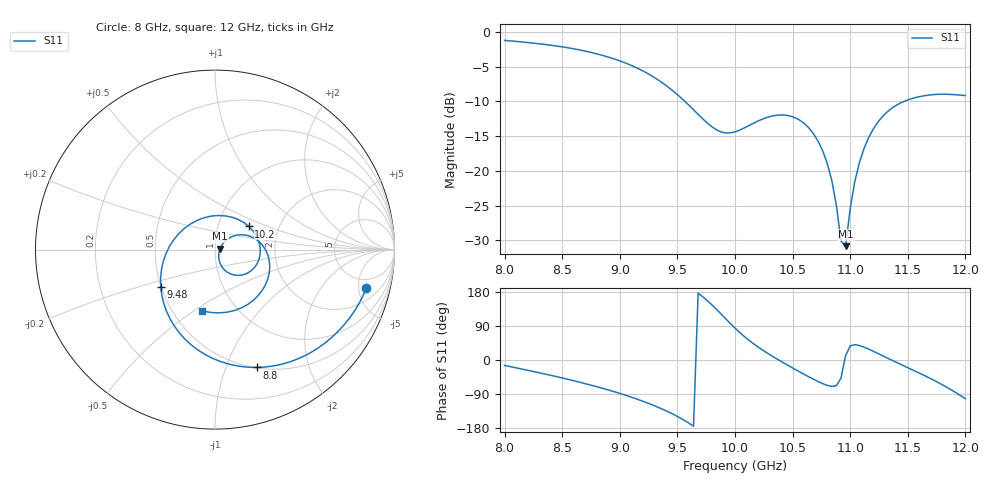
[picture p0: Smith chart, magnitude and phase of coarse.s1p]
! yapnr rf: antenna-x10, binary design on the optimization grid
! spec sha256 6d76e102596c44698a476305de89e6432791258e8245bcfd53b0e58c02666d0d
! renormalized to 50 ohm, e^(+jwt) convention
# GHz S RI R 50
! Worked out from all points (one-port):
!   101 points, 8 GHz to 12 GHz, reference 50 ohm
!   lowest |S11| = -30.8 dB at 10.96 GHz (marker M1), VSWR 1.06, Z = 52.9 + j0.603 ohm
!   |S11| at or under -10 dB: 9.566 GHz to 11.47 GHz (1.901 GHz wide, 18.1 % of centre)
!   S11 on the Smith chart (normalised r, x): 8 GHz: 3.41, -6.05; 8.8 GHz: 0.51, -1.29; 9.48 GHz: 0.50, -0.24; 10.2 GHz: 1.40, +0.38; 12 GHz: 0.69, -0.54
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8  0.8426 -0.2158
8.24  0.7239 -0.4133
8.52  0.5117 -0.5855
8.8  0.2328 -0.6564
9  0.0198 -0.6196
9.28  -0.2274 -0.4246
9.48  -0.3023 -0.2062
9.52  -0.303 -0.1597
9.8  -0.1708 0.118
10  0.0192 0.1901
10.2  0.1887 0.1291
10.36  0.2511 0.0151
10.52  0.2203 -0.1
10.64  0.1464 -0.1427
10.76  0.0654 -0.124
10.84  0.0296 -0.0802
10.88  0.0215 -0.0525
10.92  0.0209 -0.0232
10.96  0.0281 0.0057
11  0.0427 0.0322
11.04  0.0639 0.0544
11.08  0.0902 0.071
11.2  0.1839 0.0785
11.32  0.2641 0.0256
11.52  0.3022 -0.1292
11.64  0.2646 -0.2251
11.8  0.1483 -0.3243
12  -0.0729 -0.341
